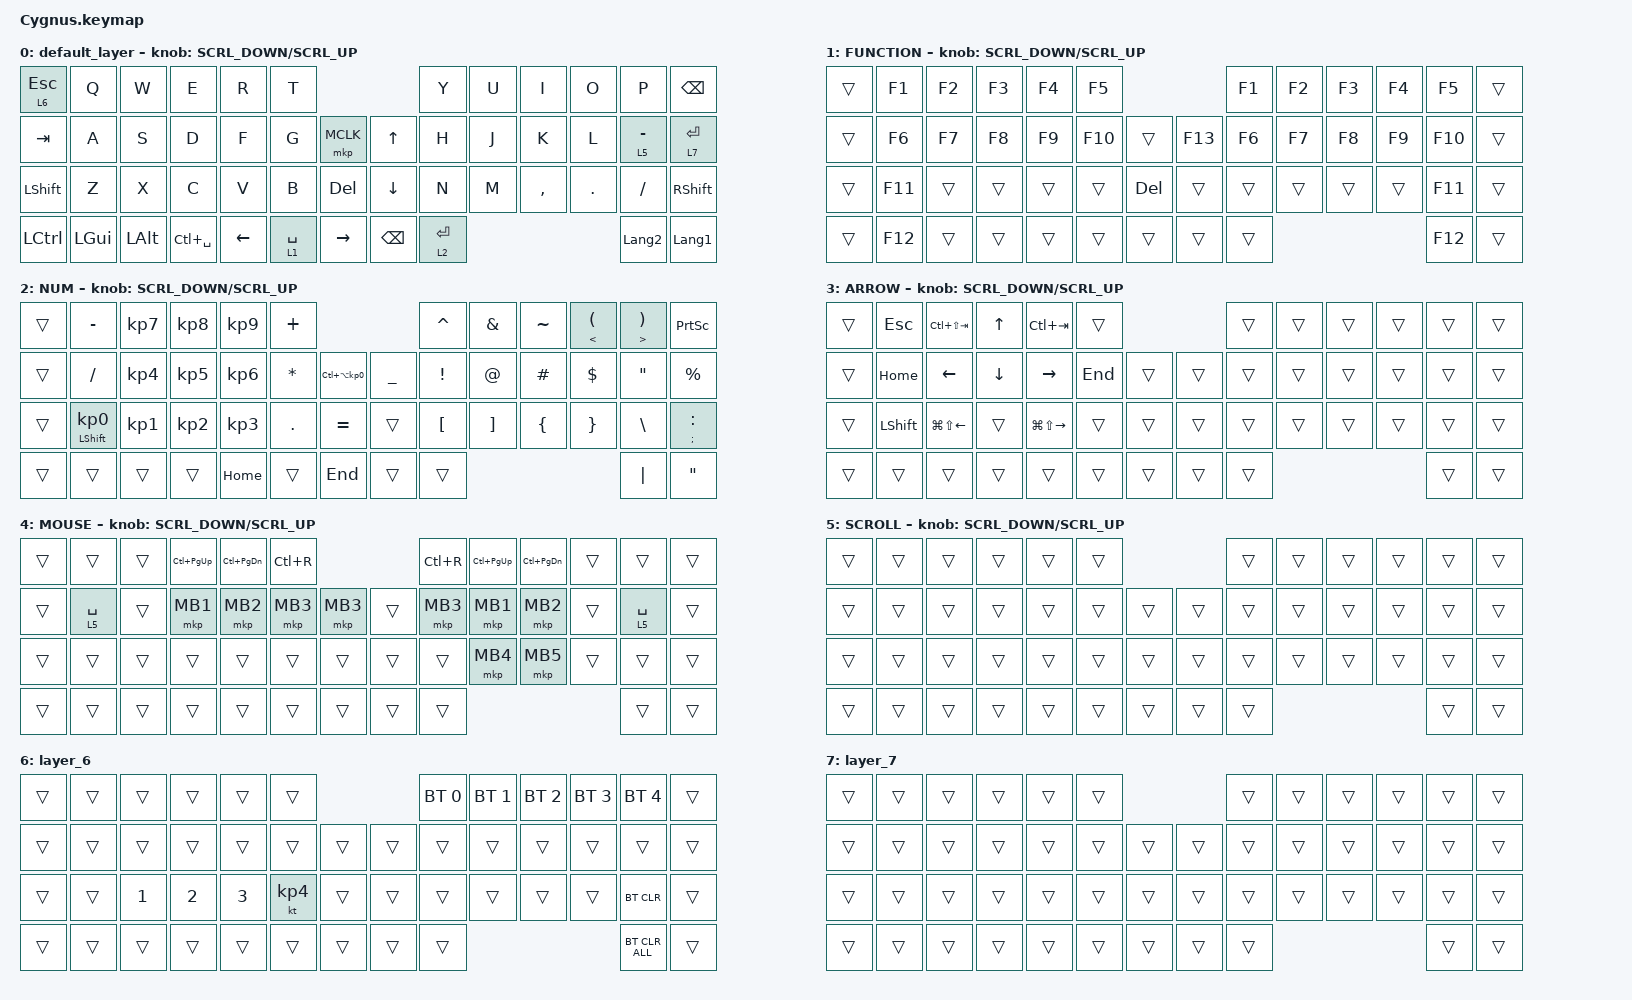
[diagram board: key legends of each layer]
#define ZMK_POINTING_DEFAULT_SCRL_VAL 120    // default: 10

#include <behaviors.dtsi>
#include <dt-bindings/zmk/bt.h>
#include <dt-bindings/zmk/keys.h>
#include <dt-bindings/zmk/pointing.h>

#define MOUSE 4
#define SCROLL 5
#define NUM 6

&mt {
    flavor = "balanced";
    quick-tap-ms = <0>;
};

/ {
    combos {
        compatible = "zmk,combos";

        left_click {
            bindings = <&mkp MB1>;
            key-positions = <21 22>;
            require-prior-idle-ms = <125>;
            layers = <0>;
            timeout-ms = <50>;
        };

        right_click {
            bindings = <&mkp MB2>;
            key-positions = <22 23>;
            require-prior-idle-ms = <125>;
            layers = <0>;
            timeout-ms = <50>;
        };

        centerclick {
            bindings = <&mkp MB3>;
            key-positions = <21 23>;
        };
    };

    macros {
        to_layer_0: to_layer_0 {
            compatible = "zmk,behavior-macro-one-param";
            #binding-cells = <1>;
            bindings = <&to 0 &macro_param_1to1 &kp MACRO_PLACEHOLDER>;
            label = "TO_LAYER_0";
        };
    };

    behaviors {
        lt_to_layer_0: lt_to_layer_0 {
            compatible = "zmk,behavior-hold-tap";
            label = "LAYER_TAP_TO_0";
            bindings = <&mo>, <&to_layer_0>;

            #binding-cells = <2>;
            tapping-term-ms = <200>;
        };

        ROTATE: ROTATE {
            compatible = "zmk,behavior-sensor-rotate-var";
            label = "ROTATE";
            #sensor-binding-cells = <2>;
            bindings = <&msc>, <&msc>;

            tap-ms = <20>;
        };
    };

    keymap {
        compatible = "zmk,keymap";

        default_layer {
            bindings = <
&lt 6 ESC  &kp Q     &kp W     &kp E          &kp R           &kp T                                           &kp Y        &kp U  &kp I      &kp O    &kp P           &kp BSPC
&kp TAB    &kp A     &kp S     &kp D          &kp F           &kp G        &mkp MCLK          &kp UP_ARROW    &kp H        &kp J  &kp K      &kp L    &lt 5 MINUS     &lt 7 ENTER
&kp LSHFT  &kp Z     &kp X     &kp C          &kp V           &kp B        &kp DELETE         &kp DOWN_ARROW  &kp N        &kp M  &kp COMMA  &kp DOT  &kp FSLH        &kp RSHFT
&kp LCTRL  &kp LGUI  &kp LALT  &kp LC(SPACE)  &kp LEFT_ARROW  &lt 1 SPACE  &kp RIGHT_ARROW    &kp BACKSPACE   &lt 2 ENTER                             &kp LANGUAGE_2  &kp LANGUAGE_1
            >;

            sensor-bindings = <&ROTATE SCRL_DOWN SCRL_UP>;
        };

        FUNCTION {
            bindings = <
&trans  &kp F1   &kp F2  &kp F3  &kp F4  &kp F5                          &kp F1  &kp F2  &kp F3  &kp F4  &kp F5   &trans
&trans  &kp F6   &kp F7  &kp F8  &kp F9  &kp F10  &trans        &kp F13  &kp F6  &kp F7  &kp F8  &kp F9  &kp F10  &trans
&trans  &kp F11  &trans  &trans  &trans  &trans   &kp DELETE    &trans   &trans  &trans  &trans  &trans  &kp F11  &trans
&trans  &kp F12  &trans  &trans  &trans  &trans   &trans        &trans   &trans                          &kp F12  &trans
            >;

            sensor-bindings = <&ROTATE SCRL_DOWN SCRL_UP>;
        };

        NUM {
            bindings = <
&trans  &kp MINUS                   &kp KP_NUMBER_7  &kp KP_NUMBER_8  &kp KP_NUMBER_9  &kp PLUS                                                 &kp CARET         &kp AMPERSAND      &kp TILDE       &mt LESS_THAN LEFT_PARENTHESIS  &mt GREATER_THAN RIGHT_PARENTHESIS  &kp PRINTSCREEN
&trans  &kp SLASH                   &kp KP_NUMBER_4  &kp KP_NUMBER_5  &kp KP_NUMBER_6  &kp ASTERISK  &kp LC(LA(KP_NUMBER_0))    &kp UNDERSCORE  &kp EXCLAMATION   &kp AT_SIGN        &kp HASH        &kp DOLLAR                      &kp DOUBLE_QUOTES                   &kp PERCENT
&trans  &mt LEFT_SHIFT KP_NUMBER_0  &kp KP_NUMBER_1  &kp KP_NUMBER_2  &kp KP_NUMBER_3  &kp PERIOD    &kp EQUAL                  &trans          &kp LEFT_BRACKET  &kp RIGHT_BRACKET  &kp LEFT_BRACE  &kp RIGHT_BRACE                 &kp BACKSLASH                       &mt SEMI COLON
&trans  &trans                      &trans           &trans           &kp HOME         &trans        &kp END                    &trans          &trans                                                                               &kp PIPE                            &kp DOUBLE_QUOTES
            >;

            sensor-bindings = <&ROTATE SCRL_DOWN SCRL_UP>;
        };

        ARROW {
            bindings = <
&trans  &kp ESCAPE      &kp LC(LS(TAB))         &kp UP_ARROW    &kp LC(TAB)              &trans                     &trans  &trans  &trans  &trans  &trans  &trans
&trans  &kp HOME        &kp LEFT_ARROW          &kp DOWN_ARROW  &kp RIGHT_ARROW          &kp END  &trans    &trans  &trans  &trans  &trans  &trans  &trans  &trans
&trans  &kp LEFT_SHIFT  &kp LG(LS(LEFT_ARROW))  &trans          &kp LG(LS(RIGHT_ARROW))  &trans   &trans    &trans  &trans  &trans  &trans  &trans  &trans  &trans
&trans  &trans          &trans                  &trans          &trans                   &trans   &trans    &trans  &trans                          &trans  &trans
            >;

            sensor-bindings = <&ROTATE SCRL_DOWN SCRL_UP>;
        };

        MOUSE {
            bindings = <
&trans  &trans       &trans  &kp LC(PAGE_UP)  &kp LC(PAGE_DOWN)  &kp LC(R)                      &kp LC(R)  &kp LC(PAGE_UP)  &kp LC(PAGE_DOWN)  &trans  &trans       &trans
&trans  &lt 5 SPACE  &trans  &mkp MB1         &mkp MB2           &mkp MB3   &mkp MB3    &trans  &mkp MB3   &mkp MB1         &mkp MB2           &trans  &lt 5 SPACE  &trans
&trans  &trans       &trans  &trans           &trans             &trans     &trans      &trans  &trans     &mkp MB4         &mkp MB5           &trans  &trans       &trans
&trans  &trans       &trans  &trans           &trans             &trans     &trans      &trans  &trans                                                 &trans       &trans
            >;

            sensor-bindings = <&ROTATE SCRL_DOWN SCRL_UP>;
        };

        SCROLL {
            bindings = <
&trans  &trans  &trans  &trans  &trans  &trans                    &trans  &trans  &trans  &trans  &trans  &trans
&trans  &trans  &trans  &trans  &trans  &trans  &trans    &trans  &trans  &trans  &trans  &trans  &trans  &trans
&trans  &trans  &trans  &trans  &trans  &trans  &trans    &trans  &trans  &trans  &trans  &trans  &trans  &trans
&trans  &trans  &trans  &trans  &trans  &trans  &trans    &trans  &trans                          &trans  &trans
            >;

            sensor-bindings = <&ROTATE SCRL_DOWN SCRL_UP>;
        };

        layer_6 {
            bindings = <
&trans  &trans  &trans        &trans        &trans        &trans                       &bt BT_SEL 0  &bt BT_SEL 1  &bt BT_SEL 2  &bt BT_SEL 3  &bt BT_SEL 4    &trans
&trans  &trans  &trans        &trans        &trans        &trans     &trans    &trans  &trans        &trans        &trans        &trans        &trans          &trans
&trans  &trans  &kp NUMBER_1  &kp NUMBER_2  &kp NUMBER_3  &kt KP_N4  &trans    &trans  &trans        &trans        &trans        &trans        &bt BT_CLR      &trans
&trans  &trans  &trans        &trans        &trans        &trans     &trans    &trans  &trans                                                  &bt BT_CLR_ALL  &trans
            >;
        };

        layer_7 {
            bindings = <
&trans  &trans  &trans  &trans  &trans  &trans                    &trans  &trans  &trans  &trans  &trans  &trans
&trans  &trans  &trans  &trans  &trans  &trans  &trans    &trans  &trans  &trans  &trans  &trans  &trans  &trans
&trans  &trans  &trans  &trans  &trans  &trans  &trans    &trans  &trans  &trans  &trans  &trans  &trans  &trans
&trans  &trans  &trans  &trans  &trans  &trans  &trans    &trans  &trans                          &trans  &trans
            >;
        };
    };
};
